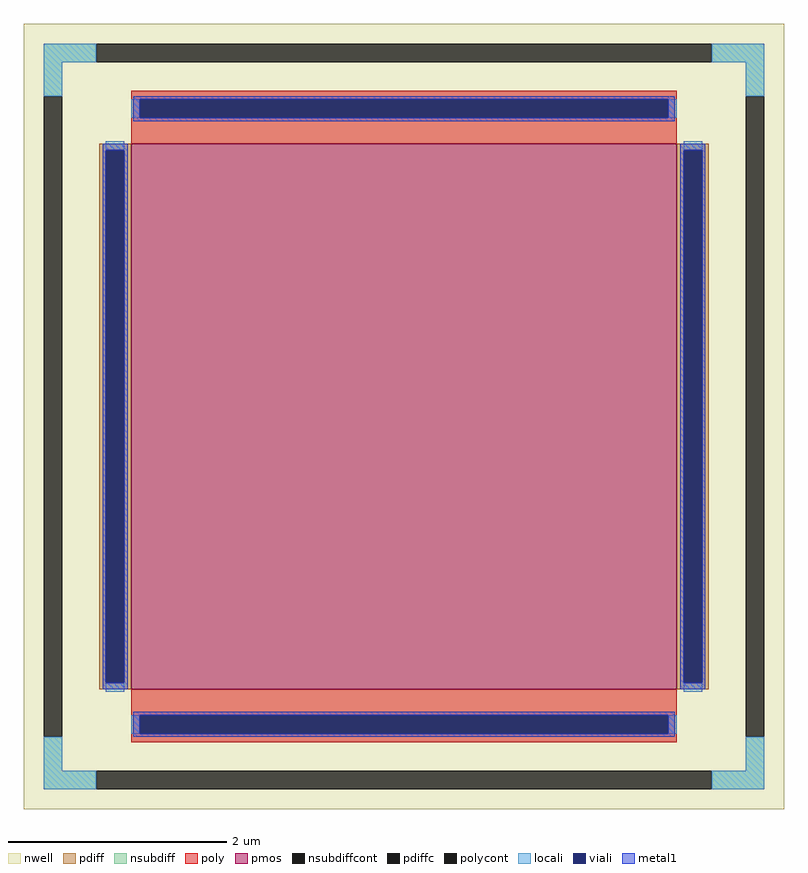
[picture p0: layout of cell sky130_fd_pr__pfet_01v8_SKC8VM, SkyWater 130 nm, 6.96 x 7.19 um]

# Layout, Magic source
magic
tech sky130A
magscale 1 2
<< nwell >>
rect -696 -719 696 719
<< pmos >>
rect -500 -500 500 500
<< pdiff >>
rect -558 488 -500 500
rect -558 -488 -546 488
rect -512 -488 -500 488
rect -558 -500 -500 -488
rect 500 488 558 500
rect 500 -488 512 488
rect 546 -488 558 488
rect 500 -500 558 -488
<< pdiffc >>
rect -546 -488 -512 488
rect 512 -488 546 488
<< nsubdiff >>
rect -660 649 -564 683
rect 564 649 660 683
rect -660 587 -626 649
rect 626 587 660 649
rect -660 -649 -626 -587
rect 626 -649 660 -587
rect -660 -683 -564 -649
rect 564 -683 660 -649
<< nsubdiffcont >>
rect -564 649 564 683
rect -660 -587 -626 587
rect 626 -587 660 587
rect -564 -683 564 -649
<< poly >>
rect -500 581 500 597
rect -500 547 -484 581
rect 484 547 500 581
rect -500 500 500 547
rect -500 -547 500 -500
rect -500 -581 -484 -547
rect 484 -581 500 -547
rect -500 -597 500 -581
<< polycont >>
rect -484 547 484 581
rect -484 -581 484 -547
<< locali >>
rect -660 649 -564 683
rect 564 649 660 683
rect -660 587 -626 649
rect 626 587 660 649
rect -500 547 -484 581
rect 484 547 500 581
rect -546 488 -512 504
rect -546 -504 -512 -488
rect 512 488 546 504
rect 512 -504 546 -488
rect -500 -581 -484 -547
rect 484 -581 500 -547
rect -660 -649 -626 -587
rect 626 -649 660 -587
rect -660 -683 -564 -649
rect 564 -683 660 -649
<< viali >>
rect -484 547 484 581
rect -546 -488 -512 488
rect 512 -488 546 488
rect -484 -581 484 -547
<< metal1 >>
rect -496 581 496 587
rect -496 547 -484 581
rect 484 547 496 581
rect -496 541 496 547
rect -552 488 -506 500
rect -552 -488 -546 488
rect -512 -488 -506 488
rect -552 -500 -506 -488
rect 506 488 552 500
rect 506 -488 512 488
rect 546 -488 552 488
rect 506 -500 552 -488
rect -496 -547 496 -541
rect -496 -581 -484 -547
rect 484 -581 496 -547
rect -496 -587 496 -581
<< properties >>
string FIXED_BBOX -643 -666 643 666
string gencell sky130_fd_pr__pfet_01v8
string library sky130
string parameters w 5.0 l 5.0 m 1 nf 1 diffcov 100 polycov 100 guard 1 glc 1 grc 1 gtc 1 gbc 1 tbcov 100 rlcov 100 topc 1 botc 1 poverlap 0 doverlap 1 lmin 0.15 wmin 0.42 compatible {sky130_fd_pr__pfet_01v8  sky130_fd_pr__pfet_01v8_lvt sky130_fd_pr__pfet_01v8_hvt  sky130_fd_pr__pfet_g5v0d10v5} full_metal 1 viasrc 100 viadrn 100 viagate 100 viagb 0 viagr 0 viagl 0 viagt 0
<< end >>
